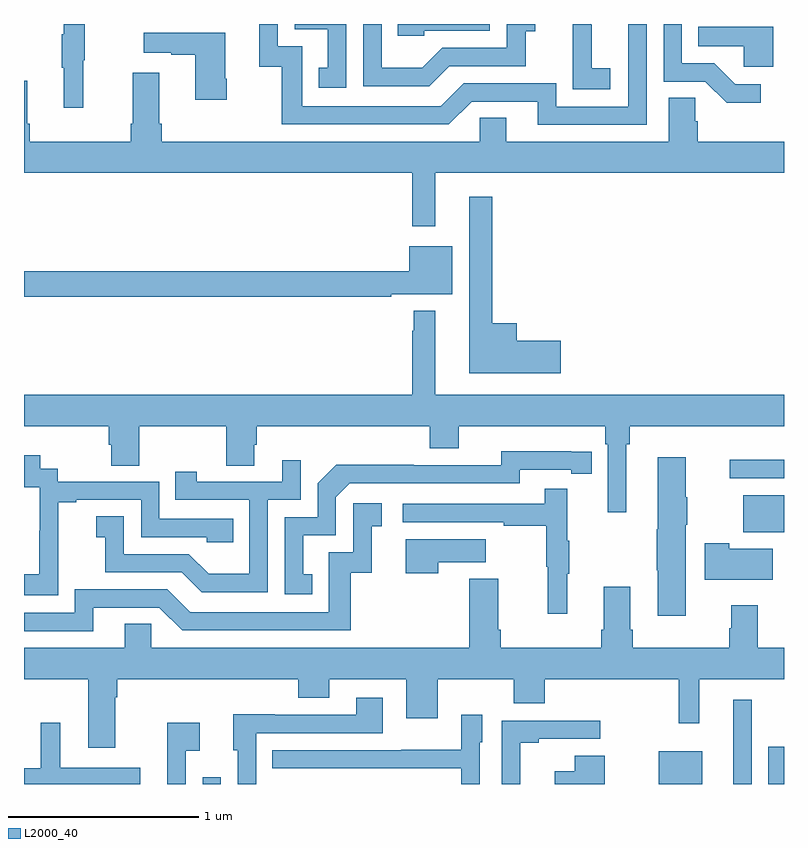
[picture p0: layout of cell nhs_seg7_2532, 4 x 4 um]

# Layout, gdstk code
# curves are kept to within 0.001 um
import gdstk
lib = gdstk.Library(unit=1e-6, precision=1e-09)
def R(c, l, rs):  # rectangles x0, y0, x1, y1
    for r in rs: c.add(gdstk.rectangle(r[:2], r[2:], *l))
def P(c, l, *ps):  # polygons
    for p in ps: c.add(gdstk.Polygon(p, *l))
L2000_40 = (2000, 40)

nhs_seg7_2532 = lib.new_cell('nhs_seg7_2532')
R(nhs_seg7_2532, L2000_40, [(275.94,1064,276.036,1064.035), (278.342,1064,278.569,1064.173), (278.732,1064,278.829,1064.443), (278.918,1064,279,1064.197), (278.786,1065.326,279,1065.52), (278.715,1065.609,279,1065.706)])
P(nhs_seg7_2532, L2000_40, [(278.277,1068),(278.181,1068),(278.181,1067.565),(277.8,1067.565),(277.8,1067.688),(277.314,1067.688),(277.194,1067.568),(276.465,1067.568),(276.465,1067.883),(276.336,1067.883),(276.336,1068),(276.239,1068),(276.239,1067.775),(276.357,1067.775),(276.357,1067.472),(277.236,1067.472),(277.356,1067.592),(277.703,1067.592),(277.703,1067.469),(278.277,1067.469)],
  [(278.878,1067.682),(278.743,1067.682),(278.632,1067.793),(278.463,1067.793),(278.463,1068),(278.367,1068),(278.367,1067.697),(278.586,1067.697),(278.699,1067.585),(278.878,1067.585)],
  [(276.696,1068),(276.426,1068),(276.426,1067.973),(276.599,1067.973),(276.599,1067.769),(276.55,1067.769),(276.55,1067.664),(276.696,1067.664)],
  [(275.312,1067.808),(275.32,1067.808),(275.32,1068),(275.21,1068),(275.21,1067.945),(275.199,1067.945),(275.199,1067.771),(275.21,1067.771),(275.21,1067.559),(275.312,1067.559)],
  [(277.107,1067.964),(277.452,1067.964),(277.452,1068),(276.967,1068),(276.967,1067.937),(277.107,1067.937)],
  [(278.086,1067.767),(277.988,1067.767),(277.988,1067.996),(277.986,1067.996),(277.986,1068),(277.889,1068),(277.889,1067.863),(277.888,1067.863),(277.888,1067.657),(278.086,1067.657)],
  [(277.237,1067.778),(277.641,1067.778),(277.641,1067.963),(277.69,1067.963),(277.69,1068),(277.542,1068),(277.542,1067.874),(277.2,1067.874),(277.096,1067.77),(276.882,1067.77),(276.882,1068),(276.786,1068),(276.786,1067.673),(277.132,1067.673)],
  [(278.944,1067.986),(278.548,1067.986),(278.548,1067.882),(278.787,1067.882),(278.787,1067.774),(278.944,1067.774)],
  [(276.066,1067.713),(276.058,1067.713),(276.058,1067.953),(275.631,1067.953),(275.631,1067.849),(275.774,1067.849),(275.774,1067.839),(275.9,1067.839),(275.9,1067.601),(276.066,1067.601)],
  [(277.165,1067.216),(279,1067.216),(279,1067.38),(278.546,1067.38),(278.546,1067.489),(278.532,1067.489),(278.532,1067.612),(278.393,1067.612),(278.393,1067.38),(277.537,1067.38),(277.537,1067.507),(277.398,1067.507),(277.398,1067.38),(275.726,1067.38),(275.726,1067.476),(275.713,1067.476),(275.713,1067.743),(275.573,1067.743),(275.573,1067.476),(275.561,1067.476),(275.561,1067.38),(275.03,1067.38),(275.03,1067.476),(275.017,1067.476),(275.017,1067.701),(275,1067.701),(275,1067.216),(277.044,1067.216),(277.044,1066.935),(277.165,1066.935)],
  [(277.825,1066.334),(277.594,1066.334),(277.594,1066.426),(277.465,1066.426),(277.465,1067.092),(277.343,1067.092),(277.343,1066.163),(277.825,1066.163)],
  [(276.932,1066.577),(277.255,1066.577),(277.255,1066.831),(277.028,1066.831),(277.028,1066.7),(275,1066.7),(275,1066.564),(276.932,1066.564)],
  [(278.17,1065.788),(278.189,1065.788),(278.189,1065.884),(279,1065.884),(279,1066.048),(277.165,1066.048),(277.165,1066.492),(277.05,1066.492),(277.05,1066.385),(277.044,1066.385),(277.044,1066.048),(275,1066.048),(275,1065.884),(275.447,1065.884),(275.447,1065.786),(275.459,1065.786),(275.459,1065.676),(275.607,1065.676),(275.607,1065.884),(276.064,1065.884),(276.064,1065.676),(276.211,1065.676),(276.211,1065.786),(276.224,1065.786),(276.224,1065.884),(277.136,1065.884),(277.136,1065.767),(277.288,1065.767),(277.288,1065.884),(278.06,1065.884),(278.06,1065.788),(278.073,1065.788),(278.073,1065.429),(278.17,1065.429)],
  [(276.518,1065.105),(276.469,1065.105),(276.469,1065.309),(276.642,1065.309),(276.642,1065.51),(276.714,1065.582),(277.608,1065.582),(277.608,1065.654),(277.88,1065.654),(277.88,1065.634),(277.988,1065.634),(277.988,1065.75),(277.512,1065.751),(277.512,1065.678),(277.052,1065.678),(277.052,1065.68),(276.644,1065.68),(276.546,1065.582),(276.546,1065.405),(276.372,1065.405),(276.372,1065),(276.518,1065)],
  [(275.181,1065.199),(275.18,1065.199),(275.18,1065.483),(275.275,1065.483),(275.275,1065.495),(275.616,1065.495),(275.616,1065.3),(275.961,1065.3),(275.961,1065.273),(276.101,1065.273),(276.101,1065.396),(275.712,1065.396),(275.712,1065.591),(275.178,1065.591),(275.178,1065.66),(275.086,1065.66),(275.086,1065.73),(275,1065.73),(275,1065.561),(275.082,1065.561),(275.082,1065.332),(275.081,1065.332),(275.081,1065.103),(275,1065.103),(275,1064.993),(275.181,1064.993)],
  [(278.482,1065.364),(278.49,1065.364),(278.49,1065.508),(278.482,1065.508),(278.482,1065.721),(278.336,1065.721),(278.336,1065.341),(278.329,1065.341),(278.329,1065.124),(278.336,1065.124),(278.336,1064.886),(278.482,1064.886)],
  [(276.282,1065.495),(276.456,1065.495),(276.456,1065.703),(276.359,1065.703),(276.359,1065.591),(275.908,1065.591),(275.908,1065.643),(275.797,1065.643),(275.797,1065.495),(276.186,1065.495),(276.186,1065.106),(275.972,1065.106),(275.868,1065.21),(275.526,1065.21),(275.526,1065.409),(275.379,1065.409),(275.379,1065.299),(275.428,1065.299),(275.428,1065.114),(275.831,1065.114),(275.936,1065.009),(276.282,1065.009)],
  [(277.859,1065.107),(277.87,1065.107),(277.87,1065.281),(277.859,1065.281),(277.859,1065.553),(277.741,1065.553),(277.741,1065.474),(276.993,1065.474),(276.993,1065.378),(277.525,1065.378),(277.525,1065.358),(277.749,1065.358),(277.749,1065.144),(277.756,1065.144),(277.756,1064.895),(277.859,1064.895)],
  [(275.365,1064.928),(275.712,1064.928),(275.832,1064.808),(276.719,1064.808),(276.719,1065.111),(276.83,1065.111),(276.83,1065.357),(276.883,1065.357),(276.883,1065.478),(276.732,1065.478),(276.732,1065.219),(276.603,1065.219),(276.603,1064.904),(275.874,1064.904),(275.754,1065.024),(275.268,1065.024),(275.268,1064.901),(275,1064.901),(275,1064.805),(275.365,1064.805)],
  [(277.181,1065.167),(277.429,1065.167),(277.429,1065.289),(277.01,1065.289),(277.01,1065.108),(277.181,1065.108)],
  [(278.941,1065.238),(278.712,1065.238),(278.712,1065.268),(278.582,1065.268),(278.582,1065.074),(278.941,1065.074)],
  [(275.479,1064.456),(275.492,1064.456),(275.492,1064.552),(276.443,1064.552),(276.443,1064.453),(276.607,1064.453),(276.607,1064.552),(277.013,1064.552),(277.013,1064.346),(277.177,1064.346),(277.177,1064.552),(277.577,1064.552),(277.577,1064.424),(277.741,1064.424),(277.741,1064.552),(278.445,1064.552),(278.445,1064.319),(278.555,1064.319),(278.555,1064.552),(279,1064.552),(279,1064.716),(278.863,1064.716),(278.863,1064.941),(278.723,1064.941),(278.723,1064.82),(278.711,1064.82),(278.711,1064.716),(278.204,1064.716),(278.204,1064.812),(278.191,1064.812),(278.191,1065.037),(278.051,1065.037),(278.051,1064.812),(278.039,1064.812),(278.039,1064.716),(277.508,1064.716),(277.508,1064.812),(277.495,1064.812),(277.495,1065.079),(277.343,1065.079),(277.343,1064.716),(275.67,1064.716),(275.67,1064.843),(275.531,1064.843),(275.531,1064.716),(275,1064.716),(275,1064.552),(275.339,1064.552),(275.339,1064.19),(275.479,1064.19)],
  [(276.222,1064.268),(276.889,1064.268),(276.889,1064.455),(276.749,1064.455),(276.749,1064.364),(276.319,1064.364),(276.319,1064.366),(276.101,1064.366),(276.101,1064.178),(276.126,1064.178),(276.126,1064),(276.222,1064)],
  [(277.398,1064.22),(277.411,1064.22),(277.411,1064.365),(277.302,1064.365),(277.302,1064.179),(276.985,1064.179),(276.985,1064.178),(276.307,1064.178),(276.307,1064.082),(277.302,1064.082),(277.302,1064),(277.398,1064)],
  [(277.613,1064.218),(277.708,1064.218),(277.708,1064.238),(278.032,1064.238),(278.032,1064.334),(277.515,1064.334),(277.515,1064),(277.613,1064)],
  [(275.85,1064.174),(275.926,1064.174),(275.926,1064.323),(275.753,1064.323),(275.753,1064),(275.85,1064)],
  [(275.611,1064.086),(275.191,1064.086),(275.191,1064.323),(275.087,1064.323),(275.087,1064.084),(275,1064.084),(275,1064),(275.611,1064)],
  [(278.056,1064.149),(277.898,1064.149),(277.898,1064.068),(277.793,1064.068),(277.793,1064),(278.056,1064)])

lib.write_gds('nhs_seg7_2532.gds')
